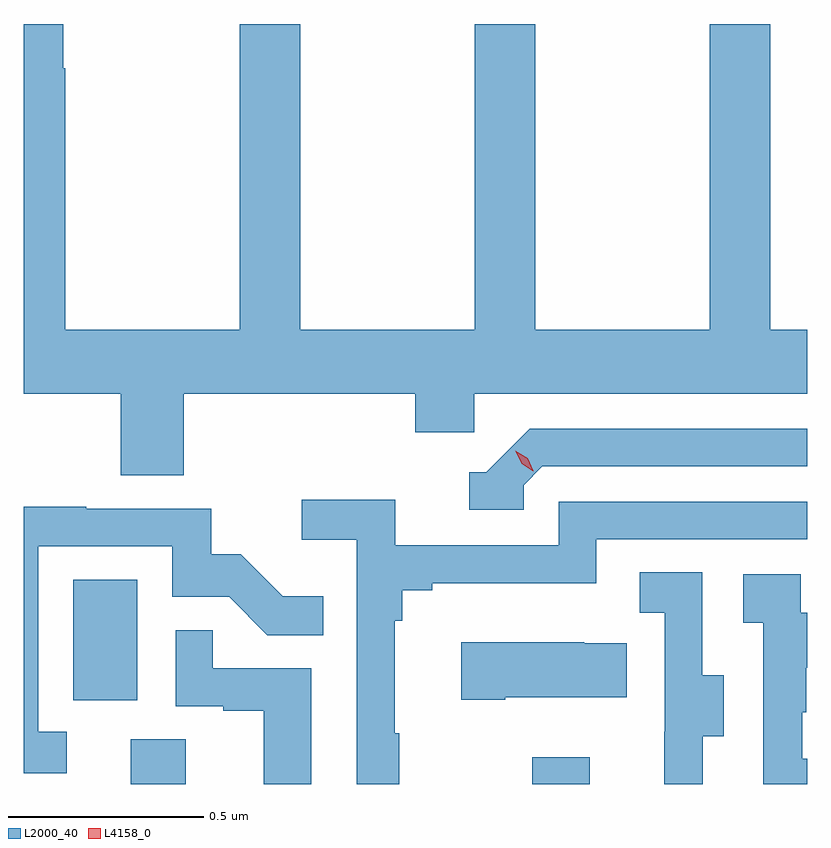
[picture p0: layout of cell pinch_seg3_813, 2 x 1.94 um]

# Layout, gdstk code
import gdstk
lib = gdstk.Library(unit=1e-6, precision=1e-09)
def R(c, l, rs):  # rectangles x0, y0, x1, y1
    for r in rs: c.add(gdstk.rectangle(r[:2], r[2:], *l))
def P(c, l, *ps):  # polygons
    for p in ps: c.add(gdstk.Polygon(p, *l))
L2000_40 = (2000, 40)
L4158_0 = (4158, 0)

pinch_seg3_813 = lib.new_cell('pinch_seg3_813')
R(pinch_seg3_813, L2000_40, [(885.413,718.568,885.553,718.682), (886.438,718.568,886.585,718.636), (885.266,718.782,885.43,719.089)])
P(pinch_seg3_813, L2000_40, [(885.548,719.564),(886.139,719.564),(886.139,719.466),(886.29,719.466),(886.29,719.564),(887.14,719.564),(887.14,719.728),(887.046,719.728),(887.046,720.508),(886.891,720.508),(886.891,719.728),(886.446,719.728),(886.446,720.508),(886.291,720.508),(886.291,719.728),(885.846,719.728),(885.846,720.508),(885.691,720.508),(885.691,719.728),(885.246,719.728),(885.246,720.395),(885.241,720.395),(885.241,720.508),(885.14,720.508),(885.14,719.564),(885.388,719.564),(885.388,719.356),(885.548,719.356)],
  [(886.416,719.331),(886.464,719.379),(887.14,719.379),(887.14,719.475),(886.431,719.475),(886.32,719.364),(886.277,719.364),(886.277,719.268),(886.416,719.268)],
  [(886.099,718.697),(886.087,718.697),(886.087,718.985),(886.106,718.985),(886.106,719.062),(886.183,719.062),(886.183,719.081),(886.602,719.081),(886.602,719.193),(887.14,719.193),(887.14,719.289),(886.506,719.289),(886.506,719.178),(886.088,719.178),(886.088,719.294),(885.849,719.294),(885.849,719.192),(885.99,719.192),(885.99,718.568),(886.099,718.568)],
  [(885.25,718.701),(885.177,718.701),(885.177,719.175),(885.519,719.175),(885.519,719.046),(885.664,719.046),(885.762,718.948),(885.905,718.948),(885.905,719.047),(885.801,719.047),(885.694,719.154),(885.618,719.154),(885.618,719.271),(885.299,719.271),(885.299,719.276),(885.14,719.276),(885.14,718.596),(885.25,718.596)],
  [(886.873,718.69),(886.927,718.69),(886.927,718.845),(886.872,718.845),(886.872,719.108),(886.713,719.108),(886.713,719.005),(886.776,719.005),(886.776,718.701),(886.775,718.701),(886.775,718.568),(886.873,718.568)],
  [(887.14,718.632),(887.127,718.632),(887.127,718.751),(887.137,718.751),(887.137,718.865),(887.14,718.865),(887.14,719.005),(887.124,719.005),(887.124,719.103),(886.977,719.103),(886.977,718.979),(887.028,718.979),(887.028,718.568),(887.14,718.568)],
  [(885.874,718.863),(885.623,718.863),(885.623,718.961),(885.528,718.961),(885.528,718.767),(885.649,718.767),(885.649,718.755),(885.752,718.755),(885.752,718.568),(885.874,718.568)],
  [(886.369,718.79),(886.679,718.79),(886.679,718.927),(886.571,718.927),(886.571,718.93),(886.257,718.93),(886.257,718.783),(886.369,718.783)])
P(pinch_seg3_813, L4158_0, [(886.441,719.366),(886.411,719.386),(886.395,719.419),(886.395,719.419),(886.395,719.419),(886.426,719.399),(886.441,719.367),(886.441,719.366)])

lib.write_gds('pinch_seg3_813.gds')
